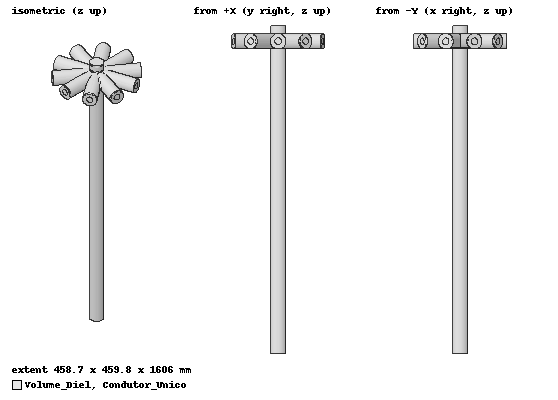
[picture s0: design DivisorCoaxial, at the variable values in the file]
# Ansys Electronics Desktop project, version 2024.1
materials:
  vacuum: permittivity=1
  Ar: permittivity=1.0006 permeability=1
  pec: conductivity=1e+30
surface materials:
  Steel-oxidised-surface

design DivisorCoaxial (HFSS, HFSS Modal Network, model units mm)
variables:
  comp_total = 1605.5494mm
  comp_secoes = 1529.0947mm
  dia_int_tubo = 76.214mm
  dia_saida_50ohm = 33.092096mm
  comp_saida = 229.3642mm
  dia_sc1 = 47.675209mm
  dia_sc2 = 65.706121mm
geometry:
  Volume_Diel [Ar] = cylinder(axis=Z, base_centre=(0mm, 0mm, 0mm), radius=dia_int_tubo/2, height=comp_total)
  Condutor_Unico [pec] = cylinder(axis=Z, base_centre=(0mm, 0mm, 0mm), radius=dia_sc1/2, height=764.54735mm)
  Cond_Sec2 = cylinder(axis=Z, base_centre=(0mm, 0mm, 764.54735mm), radius=dia_sc2/2, height=764.54735mm)
  Output_Outer_1 = cylinder(axis=X, base_centre=(0mm, 0mm, comp_secoes), radius=dia_int_tubo/2, height=comp_saida)
  Output_Inner_1 = cylinder(axis=X, base_centre=(0mm, 0mm, comp_secoes), radius=dia_saida_50ohm/2, height=comp_saida)
  Output_Outer_1_1..Output_Outer_1_9 = Output_Outer_1.duplicate_around_axis(axis=Z, angle=360deg/10, total=10)
  Output_Inner_1_1..Output_Inner_1_9 = Output_Inner_1.duplicate_around_axis(axis=Z, angle=360deg/10, total=10)
  Volume_Diel.unite(Output_Outer_1, Output_Outer_1_1..Output_Outer_1_9)
  Condutor_Unico.unite(Cond_Sec2, Output_Inner_1, Output_Inner_1_1..Output_Inner_1_9)
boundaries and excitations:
  P1: Wave Port Faces=Volume_Diel.face(-z end) WavePortType=Modal NumModes=1 Modes{Mode1{CharImp=Zpi RenormImp=50ohm}}
  P2: Wave Port Faces=Volume_Diel.face(at (229.364, 0, 1529.09)) WavePortType=Modal NumModes=1 Modes{Mode1{CharImp=Zpi RenormImp=50ohm}}
  P3: Wave Port Faces=Volume_Diel.face(at (185.56, 134.817, 1529.09)) WavePortType=Modal NumModes=1 Modes{Mode1{CharImp=Zpi RenormImp=50ohm}}
  P4: Wave Port Faces=Volume_Diel.face(at (70.8774, 218.138, 1529.09)) WavePortType=Modal NumModes=1 Modes{Mode1{CharImp=Zpi RenormImp=50ohm}}
  P5: Wave Port Faces=Volume_Diel.face(at (-70.8774, 218.138, 1529.09)) WavePortType=Modal NumModes=1 Modes{Mode1{CharImp=Zpi RenormImp=50ohm}}
  P6: Wave Port Faces=Volume_Diel.face(at (-185.56, 134.817, 1529.09)) WavePortType=Modal NumModes=1 Modes{Mode1{CharImp=Zpi RenormImp=50ohm}}
  P7: Wave Port Faces=Volume_Diel.face(at (-229.364, 0, 1529.09)) WavePortType=Modal NumModes=1 Modes{Mode1{CharImp=Zpi RenormImp=50ohm}}
  P8: Wave Port Faces=Volume_Diel.face(at (-185.56, -134.817, 1529.09)) WavePortType=Modal NumModes=1 Modes{Mode1{CharImp=Zpi RenormImp=50ohm}}
  P9: Wave Port Faces=Volume_Diel.face(at (-70.8774, -218.138, 1529.09)) WavePortType=Modal NumModes=1 Modes{Mode1{CharImp=Zpi RenormImp=50ohm}}
  P10: Wave Port Faces=Volume_Diel.face(at (70.8774, -218.138, 1529.09)) WavePortType=Modal NumModes=1 Modes{Mode1{CharImp=Zpi RenormImp=50ohm}}
  P11: Wave Port Faces=Volume_Diel.face(at (185.56, -134.817, 1529.09)) WavePortType=Modal NumModes=1 Modes{Mode1{CharImp=Zpi RenormImp=50ohm}}
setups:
  Setup1: HfssDriven Frequency=0.098GHz MaxDeltaS=0.02 MaximumPasses=8 MinimumPasses=1 MinimumConvergedPasses=1 PercentRefinement=30 BasisOrder=1 PortAccuracy=2 DrivenSolverType="Direct Solver"
    sweep Sweep1: 88MHz to 108MHz, 201 points; Type=Fast
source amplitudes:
  P1:1: 1W 0deg
  P2:1, P3:1, P4:1, P5:1, P6:1, P7:1, P8:1, P9:1, P10:1, P11:1: 0W 0deg
